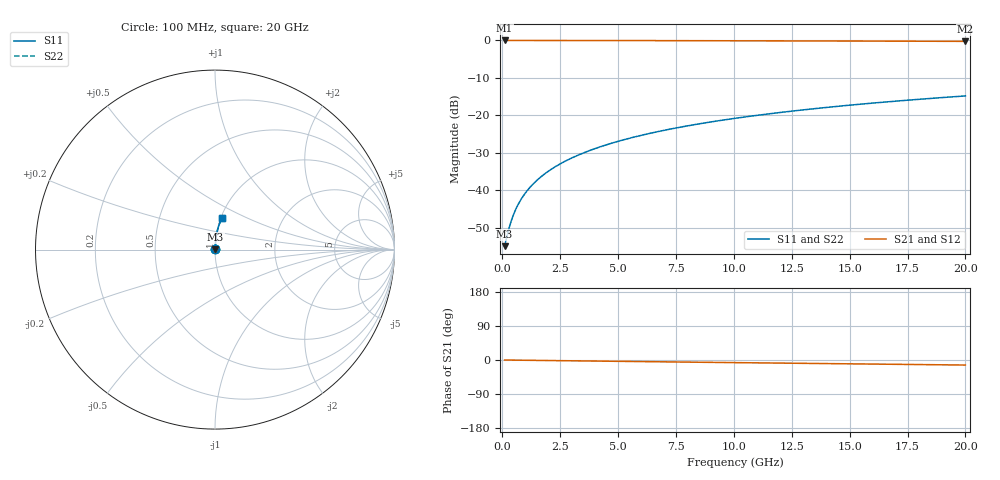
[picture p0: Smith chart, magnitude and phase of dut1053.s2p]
! Touchstone file exported from HFSS 2024.1.0
!  File:  C:/UserFiles/LocalFiles/RDL_TSV_Batchsim/temp_RDL_bottom_1053_1780052071.aedt
!  Generated:  06:56:55 PM May 29, 2026
!  Design:  RDL_bottom
!  Project:  temp_RDL_bottom_1053_1780052071
!  Setup:  Setup1
!  Solution:  Sweep
! Variables:
!  dtsv = 10.80580581um
!  hbump = 3um
!  htsv = 98.1um
!  ldown = 126.47um
!  lrdl = 100um
!  p = 40
!  p1 = 46.9um
!  rhole = 1um
!  t = 450um
!  tdown = 2.8um
!  trdl = 3.915915916um
!  wdown = 12.22um
!  wrdl = 20um
# GHz S MA R 50.000000
! Terminal data exported
! Port[1] = RDL1_T1
! Port[2] = RDL1_T2
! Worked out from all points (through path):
!   200 points, 100 MHz to 20 GHz, reference 50 ohm
!   highest |S21| = -0.01 dB at 100 MHz (marker M1); lowest = -0.3 dB at 20 GHz (marker M2)
!   group delay of S21, straight-line fit = 1.84 ps
!   lowest |S11| = -55.0 dB at 100 MHz (marker M3), VSWR 1.00, Z = 50.2 + j0.0928 ohm
!   |S11| at or under -10 dB: start of sweep to end of sweep
!   |S22| runs from -55.0 to -14.8 dB; largest |S21 - S12| = 3.5e-15
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0.1  0.001788 31.2  0.9985 -0.1  0.9985 -0.1  0.001788 31.2
! Gamma 0 0 0 0
! Port Impedance 50 0 50 0
0.3  0.003176 60.4  0.9984 -0.2  0.9984 -0.2  0.003176 60.4
0.4  0.004002 66.5  0.9984 -0.3  0.9984 -0.3  0.004002 66.5
0.5  0.004852 70.4  0.9984 -0.4  0.9984 -0.4  0.004852 70.4
0.6  0.005713 73.2  0.9983 -0.4  0.9983 -0.4  0.005713 73.2
0.8  0.00745 76.7  0.9983 -0.6  0.9983 -0.6  0.00745 76.7
1.1  0.01007 79.8  0.9981 -0.8  0.9981 -0.8  0.01007 79.8
1.3  0.01183 81.1  0.9981 -0.9  0.9981 -0.9  0.01183 81.1
1.5  0.01359 82.0  0.998 -1.1  0.998 -1.1  0.01359 82.0
1.8  0.01624 83.1  0.9979 -1.3  0.9979 -1.3  0.01624 83.1
2.1  0.0189 83.8  0.9977 -1.5  0.9977 -1.5  0.0189 83.8
2.7  0.02424 84.7  0.9974 -1.9  0.9974 -1.9  0.02424 84.7
3.5  0.0314 85.3  0.9968 -2.5  0.9968 -2.5  0.0314 85.3
4.2  0.03769 85.5  0.9962 -3.0  0.9962 -3.0  0.03769 85.5
5  0.04492 85.5  0.9955 -3.5  0.9955 -3.5  0.04492 85.5
5.9  0.05309 85.4  0.9945 -4.1  0.9945 -4.1  0.05309 85.4
6.8  0.0613 85.2  0.9934 -4.8  0.9934 -4.8  0.0613 85.2
8.3  0.07505 84.6  0.9915 -5.8  0.9915 -5.8  0.07505 84.6
10.1  0.0916 83.8  0.9889 -7.0  0.9889 -7.0  0.0916 83.8
13.4  0.1219 81.9  0.9835 -9.1  0.9835 -9.1  0.1219 81.9
16.7  0.1519 79.8  0.9777 -11.2  0.9777 -11.2  0.1519 79.8
20  0.1814 77.7  0.9713 -13.3  0.9713 -13.3  0.1814 77.7
